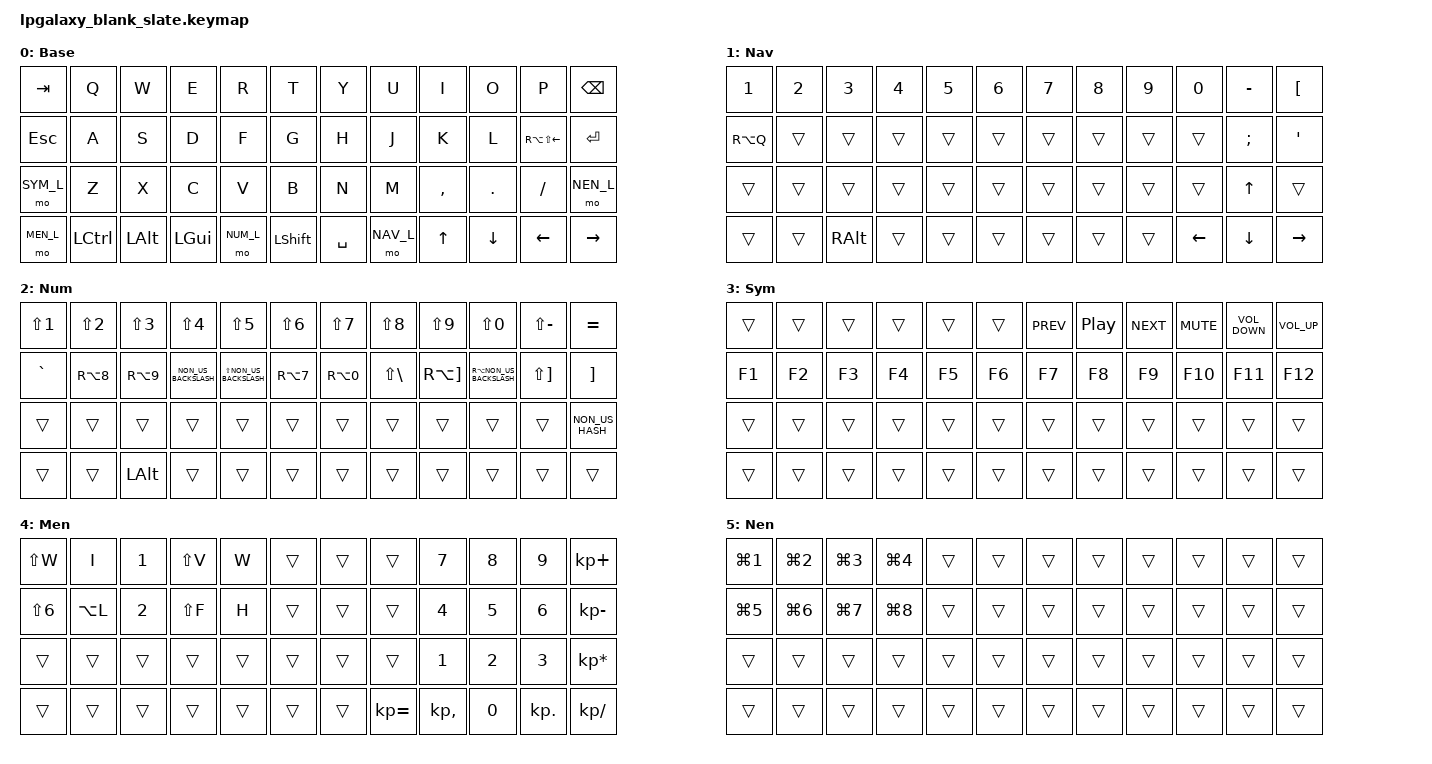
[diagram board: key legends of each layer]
/*
 * Copyright (c) 2022 Pete Johanson
 *
 * SPDX-License-Identifier: MIT
 */


#include <behaviors.dtsi>
#include <dt-bindings/zmk/keys.h>
#include <dt-bindings/zmk/bt.h>
#include <dt-bindings/zmk/outputs.h>

#define QWERTZ_BASE 1

#define TBLE_ORTHO   1
// #define TBLE_MIT     1
// #define TBLE_DUAL_2U 1

#define NAV_L 1
#define NUM_L 2
#define SYM_L 3
#define MEN_L 4
#define NEN_L 5

// Using layer taps on thumbs, having quick tap as well helps w/ repeating space/backspace
&lt { quick_tap_ms = <200>; };

#define BT(n) BT_SEL n

/ {
    chosen {
       zmk,physical-layout =
#ifdef TBLE_DUAL_2U
                       &layout_ortho_4x12_2x2u;
#elif defined(TBLE_MIT)
                       &layout_ortho_4x12_1x2u;
#else
                       &layout_ortho_4x12_all1u;
#endif
    };

    macros {
      ZMK_MACRO(thumbs_up,
		wait-ms = <1>;
		tap-ms = <5>;
                bindings = <&kp PLUS &kp COLON &kp PLUS &kp N1 &kp COLON &kp RET>;
		)
    };
    
    tap_dances {
    	shifty: shift_caps_word {
		compatible = "zmk,behavior-tap-dance";
		label = "TD_SHIFTY";
		#binding-cells = <0>;
		tapping-term-ms = <150>;
		bindings = <&kp LSHFT>, <&caps_word>;
	};
    };

// Conditional layer only when we have less thumb keys
#ifdef TBLE_DUAL_2U
    cond_layers {
        compatible = "zmk,conditional-layers";
	tri {
	    if-layers = <NUM_L NAV_L>;
	    then-layer = <SYM_L>;
        };
    };
#endif

keymap {
        compatible = "zmk,keymap";

        base_layer {
            label = "Base";
            bindings = <

 &kp TAB    &kp Q      &kp W      &kp E       &kp R          &kp T          &kp Y            &kp U          &kp I       &kp O      &kp P         	&kp BKSP
 &kp ESC    &kp A      &kp S      &kp D       &kp F          &kp G          &kp H            &kp J          &kp K       &kp L      &kp RA(LS(LEFT))     &kp RET
 &mo SYM_L  &kp Z      &kp X      &kp C       &kp V          &kp B          &kp N            &kp M          &kp COMMA   &kp DOT    &kp FSLH      	&mo NEN_L
 &mo MEN_L  &kp LCTRL  &kp LALT  &kp LGUI    &mo NUM_L      &kp LSHIFT      &kp SPACE        &mo NAV_L      &kp UP    &kp DOWN     &kp LEFT      	&kp RIGHT

            >;
        };

  nav_layer {
            label = "Nav";
            bindings = <
&kp NUMBER_1  	&kp NUMBER_2     &kp NUMBER_3     &kp NUMBER_4      &kp NUMBER_5      &kp NUMBER_6     &kp NUMBER_7     &kp NUMBER_8	&kp NUMBER_9      &kp NUMBER_0     &kp MINUS     &kp LEFT_BRACKET 
&kp RA(Q)     	&trans     	 &trans     	  &trans     	    &trans            &trans           &trans           &trans       	&trans     	  &trans      	   &kp SEMICOLON   &kp SINGLE_QUOTE
&trans     	&trans   	 &trans  	  &trans    	    &trans            &trans	       &trans           &trans       	&trans   	  &trans   	   &kp UP    	 &trans
&trans  	&trans 		 &kp RALT     	  &trans      	    &trans            &trans           &trans    	&trans  	&trans        	  &kp LEFT 	   &kp DOWN 	 &kp RIGHT
            >;
        };

        num_layer {
            label = "Num";
            bindings = <
&kp LS(NUMBER_1)  &kp LS(NUMBER_2)   &kp LS(NUMBER_3)    &kp LS(NUMBER_4)      &kp LS(NUMBER_5)          &kp LS(NUMBER_6)   &kp LS(NUMBER_7)     &kp LS(NUMBER_8)   &kp LS(NUMBER_9)         &kp LS(NUMBER_0)             &kp LS(MINUS)           &kp EQUAL 
&kp GRAVE    	  &kp RA(NUMBER_8)   &kp RA(NUMBER_9)    &kp NON_US_BACKSLASH  &kp LS(NON_US_BACKSLASH)  &kp RA(NUMBER_7)   &kp RA(NUMBER_0)     &kp LS(BACKSLASH)  &kp RA(RIGHT_BRACKET)    &kp RA(NON_US_BACKSLASH)  &kp LS(RIGHT_BRACKET)     &kp RIGHT_BRACKET
&trans     	  &trans   	     &trans  	         &trans    	       &trans       	         &trans	            &trans               &trans       	    &trans   	             &trans   	                 &trans     	         &kp NON_US_HASH  
&trans  	  &trans 	     &kp LALT      	 &trans      	       &trans                    &trans             &trans    	         &trans  	    &trans        	     &trans 		         &trans 		 &trans
            >; 
        };  

         sym_layer {
            label = "Sym";
            bindings = <
&trans          &trans          &trans          &trans          &trans          &trans       &kp C_PREV     &kp C_PLAY_PAUSE    &kp C_NEXT       &kp C_MUTE        &kp C_VOLUME_DOWN     &kp C_VOLUME_UP
&kp F1     	&kp F2     	&kp F3     	&kp F4     	&kp F5          &kp F6       &kp F7         &kp F8       	&kp F9     	    &kp F10           &kp F11   	    &kp F12
&trans     	&trans   	&trans  	&trans    	&trans       	&trans	     &trans         &trans       	&trans   	    &trans   	      &trans    	    &trans
&trans     	&trans   	&trans  	&trans    	&trans       	&trans	     &trans         &trans       	&trans   	    &trans   	      &trans    	    &trans 		   
            >;
        };

 men_layer {
            label = "Men";
            bindings = <
&kp LS(W)	    &kp I        &kp NUMBER_1     &kp LS(V)    &kp W       &trans       &trans    	&trans     	 &kp NUMBER_7       &kp NUMBER_8        &kp NUMBER_9     	&kp KP_PLUS
&kp LS(NUMBER_6)    &kp LA(L)    &kp NUMBER_2     &kp LS(F)    &kp H       &trans       &trans    	&trans     	 &kp NUMBER_4       &kp NUMBER_5        &kp NUMBER_6     	&kp KP_MINUS
&trans	            &trans       &trans 	  &trans       &trans      &trans       &trans     	&trans           &kp NUMBER_1       &kp NUMBER_2        &kp NUMBER_3     	&kp KP_ASTERISK
&trans	            &trans       &trans           &trans       &trans      &trans       &trans          &kp KP_EQUAL     &kp KP_COMMA  	    &kp NUMBER_0        &kp KP_DOT       	&kp KP_DIVIDE
            >;
        };
 

nen_layer {
            label = "Nen";
            bindings = <
&kp LG(NUMBER_1)  	&kp LG(NUMBER_2)     	&kp LG(NUMBER_3)     	&kp LG(NUMBER_4)      	&trans          &trans       &trans     &trans		&trans      	&trans     	&trans     	&trans 
&kp LG(NUMBER_5)     	&kp LG(NUMBER_6)     	&kp LG(NUMBER_7)    	&kp LG(NUMBER_8)     	&trans          &trans       &trans     &trans       	&trans     	&trans      	&trans   	&trans
&trans     	        &trans   	        &trans  	        &trans    	        &trans       	&trans	     &trans     &trans       	&trans   	&trans   	&trans    	&trans
&trans  	        &trans 		        &trans     	        &trans           	&trans          &trans       &trans    	&trans  	&trans        	&trans 		&trans 		&trans
            >;
        };


    };
};
